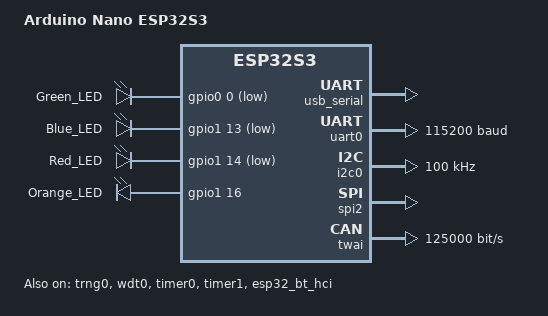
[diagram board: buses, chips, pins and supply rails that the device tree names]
/*
 * Copyright (c) 2023 Seeed Studio inc.
 *
 * SPDX-License-Identifier: Apache-2.0
 */

/dts-v1/;

#include <espressif/esp32s3/esp32s3_wroom_n16r8.dtsi>
#include <espressif/partitions_0x0_default_16M.dtsi>
#include "nano_esp32s3-pinctrl.dtsi"

/ {
	model = "Arduino Nano ESP32S3";
	compatible = "arduino,nano-esp32s3";

	chosen {
		zephyr,sram = &sram0;
		zephyr,console = &usb_serial;
		zephyr,shell-uart = &usb_serial;
		zephyr,flash = &flash0;
		zephyr,code-partition = &slot0_partition;
		zephyr,bt-hci = &esp32_bt_hci;
	};

	aliases {
		i2c-0 = &i2c0;
		watchdog0 = &wdt0;
		led-green = &led0;
		led-blue = &led1;
		led-red = &led2;
		led-orange = &led3;
	};

	leds {
		compatible = "gpio-leds";
		led0: led_green {
			gpios = <&gpio0 0 GPIO_ACTIVE_LOW>;
			label = "Green_LED";
		};
		led1: led_blue {
			gpios = <&gpio1 13 GPIO_ACTIVE_LOW>;
			label = "Blue_LED";
		};
		led2: led_red {
			gpios = <&gpio1 14 GPIO_ACTIVE_LOW>;
			label = "Red_LED";
		};
		led3: led_orange {
			gpios = <&gpio1 16 GPIO_ACTIVE_HIGH>;
			label = "Orange_LED";
		};
	};
};

&usb_serial {
	status = "okay";
};

&uart0 {
	status = "okay";
	current-speed = <115200>;
	pinctrl-0 = <&uart0_default>;
	pinctrl-names = "default";
};

&i2c0 {
	status = "okay";
	clock-frequency = <I2C_BITRATE_STANDARD>;
	pinctrl-0 = <&i2c0_default>;
	pinctrl-names = "default";
};

&trng0 {
	status = "okay";
};

&spi2 {
	#address-cells = <1>;
	#size-cells = <0>;
	status = "okay";
	pinctrl-0 = <&spim2_default>;
	pinctrl-names = "default";
};

&gpio0 {
	status = "okay";
};

&gpio1 {
	status = "okay";
};

&wdt0 {
	status = "okay";
};

&twai {
	pinctrl-0 = <&twai_default>;
	pinctrl-names = "default";
	bus-speed = <125000>;
};

&timer0 {
	status = "okay";
};

&timer1 {
	status = "okay";
};

&esp32_bt_hci {
	status = "okay";
};
